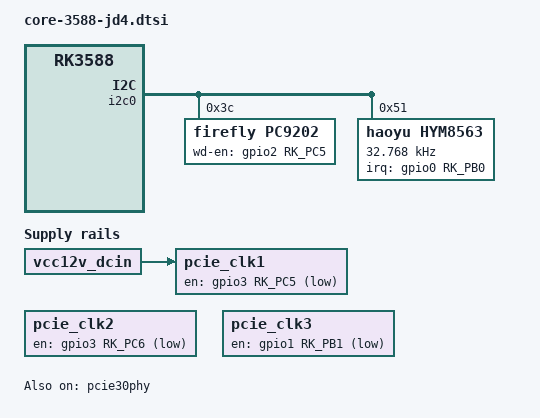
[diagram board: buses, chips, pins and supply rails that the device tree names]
// SPDX-License-Identifier: (GPL-2.0+ OR MIT)
/*
 * Copyright (c) 2021 Rockchip Electronics Co., Ltd.
 *
 */

#define rk3588
#include "rk3588-firefly-core.dtsi"
#include "rk3588-linux.dtsi"

/ {
	pcie_essd: pcie-essd {
               compatible = "regulator-fixed";
               regulator-name = "pcie_essd";
               regulator-min-microvolt = <2500000>;
               regulator-max-microvolt = <2500000>;
               enable-active-high;
               gpios = <&gpio3 RK_PB7 GPIO_ACTIVE_HIGH>;
               startup-delay-us = <5000>;
               vin-supply = <&vcc12v_dcin>;
               status = "disabled";
       };

	   pcie_clk1: pcie-clk1 {
                       compatible = "regulator-fixed";
                       regulator-name = "pcie_clk1";
                       regulator-boot-on;
                       regulator-always-on;
                       gpios = <&gpio3 RK_PC5 GPIO_ACTIVE_LOW>;
                       vin-supply = <&vcc12v_dcin>;
                       status = "okay";
       };

	   pcie_clk2: pcie-clk2 {
                       compatible = "regulator-fixed";
                       regulator-name = "pcie_clk2";
                       regulator-boot-on;
                       regulator-always-on;
                       gpios = <&gpio3 RK_PC6 GPIO_ACTIVE_LOW>;
                       status = "okay";
       };

	   pcie_clk3: pcie-clk3 {
                       compatible = "regulator-fixed";
                       regulator-name = "pcie_clk3";
                       regulator-boot-on;
                       regulator-always-on;
                       gpios = <&gpio1 RK_PB1 GPIO_ACTIVE_LOW>;
                       status = "okay";
       };

};


&pcie3x2 {
       status = "disabled";
       num-lanes = <2>;
       reset-gpios = <&gpio4 RK_PB0 GPIO_ACTIVE_HIGH>;
       vpcie3v3-supply = <&pcie_essd>;
};

&pcie30phy {
       rockchip,pcie30-phymode = <PHY_MODE_PCIE_NANBBI>;
	   status = "okay";
};

/*pc9202*/
&i2c0 {
	pinctrl-0 = <&i2c0m2_xfer>;
	pc9202@3c {
		status = "okay";
		compatible = "firefly,pc9202";
		reg = <0x3c>;
		index = <0>;
		wd-en-gpio = <&gpio2 RK_PC5 GPIO_ACTIVE_HIGH>;
		driver-names = "wdt_core";
	};

	hym8563: hym8563@51 {
		status = "okay";
		compatible = "haoyu,hym8563";
		reg = <0x51>;
		#clock-cells = <0>;
		clock-frequency = <32768>;
		clock-output-names = "hym8563";
		pinctrl-names = "default";
		pinctrl-0 = <&hym8563_int>;
		interrupt-parent = <&gpio0>;
		interrupts = <RK_PB0 IRQ_TYPE_LEVEL_LOW>;
		wakeup-source;
	};
};


/* pinctrl */
&pinctrl {
 	hym8563 {
		hym8563_int: hym8563-int {
			rockchip,pins = <0 RK_PB0 RK_FUNC_GPIO &pcfg_pull_none>;
		};
	};
};
